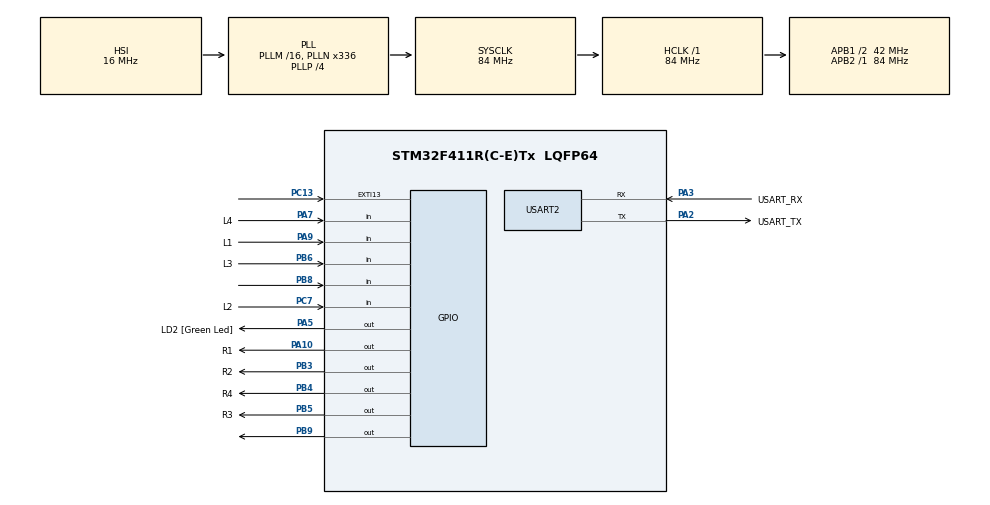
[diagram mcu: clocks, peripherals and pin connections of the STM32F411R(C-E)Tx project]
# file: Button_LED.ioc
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Mcu.Family=STM32F4
Mcu.Name=STM32F411R(C-E)Tx
Mcu.Package=LQFP64
NVIC.PriorityGroup=NVIC_PRIORITYGROUP_0
PA10.GPIO_Label=R1
PA10.GPIO_ModeDefaultOutputPP=GPIO_MODE_OUTPUT_OD
PA10.GPIO_PuPd=GPIO_NOPULL
PA10.GPIO_Speed=GPIO_SPEED_FREQ_LOW
PA10.PinState=GPIO_PIN_SET
PA10.Signal=GPIO_Output
PA13.GPIO_Label=TMS
PA13.Mode=Serial_Wire
PA13.Signal=SYS_JTMS-SWDIO
PA14.GPIO_Label=TCK
PA14.Mode=Serial_Wire
PA14.Signal=SYS_JTCK-SWCLK
PA2.GPIO_Label=USART_TX
PA2.Mode=Asynchronous
PA2.Signal=USART2_TX
PA3.GPIO_Label=USART_RX
PA3.Mode=Asynchronous
PA3.Signal=USART2_RX
PA5.GPIO_Label=LD2 [Green Led]
PA5.Signal=GPIO_Output
PA7.GPIO_Label=L4
PA7.GPIO_PuPd=GPIO_PULLUP
PA7.Signal=GPIO_Input
PA9.GPIO_Label=L1
PA9.GPIO_PuPd=GPIO_PULLUP
PA9.Signal=GPIO_Input
PB3.GPIO_Label=R2
PB3.GPIO_ModeDefaultOutputPP=GPIO_MODE_OUTPUT_OD
PB3.GPIO_PuPd=GPIO_NOPULL
PB3.GPIO_Speed=GPIO_SPEED_FREQ_LOW
PB3.PinState=GPIO_PIN_SET
PB3.Signal=GPIO_Output
PB4.GPIO_Label=R4
PB4.GPIO_ModeDefaultOutputPP=GPIO_MODE_OUTPUT_OD
PB4.GPIO_PuPd=GPIO_NOPULL
PB4.GPIO_Speed=GPIO_SPEED_FREQ_LOW
PB4.PinState=GPIO_PIN_SET
PB4.Signal=GPIO_Output
PB5.GPIO_Label=R3
PB5.GPIO_ModeDefaultOutputPP=GPIO_MODE_OUTPUT_OD
PB5.GPIO_PuPd=GPIO_NOPULL
PB5.GPIO_Speed=GPIO_SPEED_FREQ_LOW
PB5.PinState=GPIO_PIN_SET
PB5.Signal=GPIO_Output
PB6.GPIO_Label=L3
PB6.GPIO_PuPd=GPIO_PULLUP
PB6.Signal=GPIO_Input
PB8.GPIO_PuPd=GPIO_PULLUP
PB8.Signal=GPIO_Input
PB9.GPIO_PuPd=GPIO_PULLUP
PB9.Signal=GPIO_Output
PC13-ANTI_TAMP.Signal=GPXTI13
PC14-OSC32_IN.Mode=LSE-External-Oscillator
PC14-OSC32_IN.Signal=RCC_OSC32_IN
PC15-OSC32_OUT.Mode=LSE-External-Oscillator
PC15-OSC32_OUT.Signal=RCC_OSC32_OUT
PC7.GPIO_Label=L2
PC7.GPIO_PuPd=GPIO_PULLUP
PC7.Signal=GPIO_Input
PH0\ -\ OSC_IN.Mode=HSE-External-Clock-Source
PH0\ -\ OSC_IN.Signal=RCC_OSC_IN
PH1\ -\ OSC_OUT.Mode=HSE-External-Clock-Source
PH1\ -\ OSC_OUT.Signal=RCC_OSC_OUT
ProjectManager.HeapSize=0x200
ProjectManager.StackSize=0x400
ProjectManager.TargetToolchain=STM32CubeIDE
RCC.48MHZClocksFreq_Value=84000000
RCC.AHBFreq_Value=84000000
RCC.APB1CLKDivider=RCC_HCLK_DIV2
RCC.APB1Freq_Value=42000000
RCC.APB1TimFreq_Value=84000000
RCC.APB2Freq_Value=84000000
RCC.APB2TimFreq_Value=84000000
RCC.CortexFreq_Value=84000000
RCC.FLatency-AdvancedSettings=FLASH_LATENCY_2
RCC.HCLKFreq_Value=84000000
RCC.HSE_VALUE=8000000
RCC.HSI_VALUE=16000000
RCC.PLLN=336
RCC.PLLP=RCC_PLLP_DIV4
RCC.SYSCLKFreq_VALUE=84000000
RCC.SYSCLKSource=RCC_SYSCLKSOURCE_PLLCLK
RCC.VCOOutputFreq_Value=336000000
USART2.VirtualMode=VM_ASYNC
board=NUCLEO-F411RE

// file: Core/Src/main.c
/* USER CODE BEGIN Header */
/**
  ******************************************************************************
  * @file           : main.c
  * @brief          : Main program body
  ******************************************************************************
  * @attention
  *
  * Copyright (c) 2023 STMicroelectronics.
  * All rights reserved.
  *
  * This software is licensed under terms that can be found in the LICENSE file
  * in the root directory of this software component.
  * If no LICENSE file comes with this software, it is provided AS-IS.
  *
  ******************************************************************************
  */
/* USER CODE END Header */
#include "main.h"

UART_HandleTypeDef huart2;

/* USER CODE BEGIN PV */
struct Portpin
{
	GPIO_TypeDef* PORT;
	uint32_t PIN;
};

struct Portpin R[4] =
{
		{GPIOA,GPIO_PIN_10},
		{GPIOB,GPIO_PIN_3},
		{GPIOB,GPIO_PIN_5},
		{GPIOB,GPIO_PIN_4},
};

struct Portpin L[4] =
{
		{GPIOA,GPIO_PIN_9},
		{GPIOC,GPIO_PIN_7},
		{GPIOB,GPIO_PIN_6},
		{GPIOA,GPIO_PIN_7},
};

uint32_t ButtonMatrix;
uint64_t CurrentVal = 0;
uint64_t LastVal = 0;
uint64_t Disp;
/* USER CODE END PV */

void SystemClock_Config(void);
static void MX_GPIO_Init(void);
static void MX_USART2_UART_Init(void);

/* USER CODE BEGIN PFP */
void ReadMatrixButton_1Row(void);
/* USER CODE END PFP */

int main(void)
{

  /* MCU Configuration--------------------------------------------------------*/

  /* Reset of all peripherals, Initializes the Flash interface and the Systick. */
  HAL_Init();

  /* Configure the system clock */
  SystemClock_Config();

  /* Initialize all configured peripherals */
  MX_GPIO_Init();
  MX_USART2_UART_Init();

  /* Infinite loop */
  /* USER CODE BEGIN WHILE */

  GPIO_PinState state = 0;
  uint32_t Power;
  while (1)
  {
    /* USER CODE END WHILE */
	  HAL_GPIO_WritePin(GPIOA, GPIO_PIN_5, state);
    /* USER CODE BEGIN 3 */
	  static uint32_t timestamp = 0;
	  if(HAL_GetTick() >= timestamp)
	  {
	  	timestamp = HAL_GetTick() + 5;
	  	ReadMatrixButton_1Row();
	  	//detect RISING
	  	if (ButtonMatrix > 0 && LastVal != ButtonMatrix)
	  	{
	  		CurrentVal = ButtonMatrix;
	  		if(CurrentVal == 8) //0
	  		{
	  			Disp = Disp * 10;
	  			Disp += 0;
	  			state = 0;
	  		}
	  		else if(CurrentVal == 4) //1
	  		{
	  			Disp = Disp * 10;
	  			Disp += 1;
	  			state = 0;
	  		}
	  		else if(CurrentVal == 64) //2
	  		{
	  			Disp = Disp * 10;
	  			Disp += 2;
	  			state = 0;
	  		}
	  		else if(CurrentVal == 1024) //3
	  		{
	  			Disp = Disp * 10;
	  			Disp += 3;
	  			state = 0;
	  		}
	  		else if(CurrentVal == 2) //4
	  		{
	  			Disp = Disp * 10;
	  			Disp += 4;
	  			state = 0;
	  		}
	  		else if(CurrentVal == 32) //5
	  		{
	  			Disp = Disp * 10;
	  			Disp += 5;
	  			state = 0;
	  		}
	  		else if(CurrentVal == 512) //6
	  		{
	  			Disp = Disp * 10;
	  			Disp += 6;
	  			state = 0;
	  		}
	  		else if(CurrentVal == 1) //7
	  		{
	  			Disp = Disp * 10;
	  			Disp += 7;
	  			state = 0;
	  		}
	  		else if(CurrentVal == 16) //8
	  		{
	  			Disp = Disp * 10;
	  			Disp += 8;
	  			state = 0;
	  		}
	  		else if(CurrentVal == 256) //9
	  		{
	  			Disp = Disp * 10;
	  			Disp += 9;
	  			state = 0;
	  		}
	  		else if(CurrentVal == 4096) //clear
			{
	  			Disp = Disp * 0;
	  			state = 0;
	  		}
	  		else if(CurrentVal == 8192) //backspace
			{
	  			Disp = Disp / 10;
	  			state = 0;
	  		}
	  		else if(CurrentVal == 32768 && Disp == 64340500038)
	  		{
	  			state = 1;
	  		}

	  	}
	  	LastVal = ButtonMatrix;
	  }

//	static uint32_t delay = 500;
//	static uint32_t timestamp = 0;
//	Button1.State_C = HAL_GPIO_ReadPin(GPIOB, GPIO_PIN_8);
//	if(Button1.State_L == 1 && Button1.State_C == 0)
//	{
//		if(delay == 500){
//			delay = 1000;
//		}
//		else
//		{
//			delay = 500;
//		}
//	}
//	Button1.State_L = Button1.State_C;
//
//	if(HAL_GetTick() >= timestamp){
//		timestamp = HAL_GetTick() + delay;
//		HAL_GPIO_TogglePin(GPIOB, GPIO_PIN_9);
//	}

  }
  /* USER CODE END 3 */
}

void SystemClock_Config(void)
{
  RCC_OscInitTypeDef RCC_OscInitStruct = {0};
  RCC_ClkInitTypeDef RCC_ClkInitStruct = {0};

  /** Configure the main internal regulator output voltage
  */
  __HAL_RCC_PWR_CLK_ENABLE();
  __HAL_PWR_VOLTAGESCALING_CONFIG(PWR_REGULATOR_VOLTAGE_SCALE1);

  /** Initializes the RCC Oscillators according to the specified parameters
  * in the RCC_OscInitTypeDef structure.
  */
  RCC_OscInitStruct.OscillatorType = RCC_OSCILLATORTYPE_HSI;
  RCC_OscInitStruct.HSIState = RCC_HSI_ON;
  RCC_OscInitStruct.HSICalibrationValue = RCC_HSICALIBRATION_DEFAULT;
  RCC_OscInitStruct.PLL.PLLState = RCC_PLL_ON;
  RCC_OscInitStruct.PLL.PLLSource = RCC_PLLSOURCE_HSI;
  RCC_OscInitStruct.PLL.PLLM = 16;
  RCC_OscInitStruct.PLL.PLLN = 336;
  RCC_OscInitStruct.PLL.PLLP = RCC_PLLP_DIV4;
  RCC_OscInitStruct.PLL.PLLQ = 4;
  if (HAL_RCC_OscConfig(&RCC_OscInitStruct) != HAL_OK)
  {
    Error_Handler();
  }

  /** Initializes the CPU, AHB and APB buses clocks
  */
  RCC_ClkInitStruct.ClockType = RCC_CLOCKTYPE_HCLK|RCC_CLOCKTYPE_SYSCLK
                              |RCC_CLOCKTYPE_PCLK1|RCC_CLOCKTYPE_PCLK2;
  RCC_ClkInitStruct.SYSCLKSource = RCC_SYSCLKSOURCE_PLLCLK;
  RCC_ClkInitStruct.AHBCLKDivider = RCC_SYSCLK_DIV1;
  RCC_ClkInitStruct.APB1CLKDivider = RCC_HCLK_DIV2;
  RCC_ClkInitStruct.APB2CLKDivider = RCC_HCLK_DIV1;

  if (HAL_RCC_ClockConfig(&RCC_ClkInitStruct, FLASH_LATENCY_2) != HAL_OK)
  {
    Error_Handler();
  }
}

static void MX_USART2_UART_Init(void)
{

  huart2.Instance = USART2;
  huart2.Init.BaudRate = 115200;
  huart2.Init.WordLength = UART_WORDLENGTH_8B;
  huart2.Init.StopBits = UART_STOPBITS_1;
  huart2.Init.Parity = UART_PARITY_NONE;
  huart2.Init.Mode = UART_MODE_TX_RX;
  huart2.Init.HwFlowCtl = UART_HWCONTROL_NONE;
  huart2.Init.OverSampling = UART_OVERSAMPLING_16;
  if (HAL_UART_Init(&huart2) != HAL_OK)
  {
    Error_Handler();
  }

}

static void MX_GPIO_Init(void)
{
  GPIO_InitTypeDef GPIO_InitStruct = {0};

  /* GPIO Ports Clock Enable */
  __HAL_RCC_GPIOC_CLK_ENABLE();
  __HAL_RCC_GPIOH_CLK_ENABLE();
  __HAL_RCC_GPIOA_CLK_ENABLE();
  __HAL_RCC_GPIOB_CLK_ENABLE();

  /*Configure GPIO pin Output Level */
  HAL_GPIO_WritePin(LD2_GPIO_Port, LD2_Pin, GPIO_PIN_RESET);

  /*Configure GPIO pin Output Level */
  HAL_GPIO_WritePin(R1_GPIO_Port, R1_Pin, GPIO_PIN_SET);

  /*Configure GPIO pin Output Level */
  HAL_GPIO_WritePin(GPIOB, R2_Pin|R4_Pin|R3_Pin, GPIO_PIN_SET);

  /*Configure GPIO pin Output Level */
  HAL_GPIO_WritePin(GPIOB, GPIO_PIN_9, GPIO_PIN_RESET);

  /*Configure GPIO pin : PC13 */
  GPIO_InitStruct.Pin = GPIO_PIN_13;
  GPIO_InitStruct.Mode = GPIO_MODE_IT_RISING;
  GPIO_InitStruct.Pull = GPIO_NOPULL;
  HAL_GPIO_Init(GPIOC, &GPIO_InitStruct);

  /*Configure GPIO pin : LD2_Pin */
  GPIO_InitStruct.Pin = LD2_Pin;
  GPIO_InitStruct.Mode = GPIO_MODE_OUTPUT_PP;
  GPIO_InitStruct.Pull = GPIO_NOPULL;
  GPIO_InitStruct.Speed = GPIO_SPEED_FREQ_LOW;
  HAL_GPIO_Init(LD2_GPIO_Port, &GPIO_InitStruct);

  /*Configure GPIO pins : L4_Pin L1_Pin */
  GPIO_InitStruct.Pin = L4_Pin|L1_Pin;
  GPIO_InitStruct.Mode = GPIO_MODE_INPUT;
  GPIO_InitStruct.Pull = GPIO_PULLUP;
  HAL_GPIO_Init(GPIOA, &GPIO_InitStruct);

  /*Configure GPIO pin : L2_Pin */
  GPIO_InitStruct.Pin = L2_Pin;
  GPIO_InitStruct.Mode = GPIO_MODE_INPUT;
  GPIO_InitStruct.Pull = GPIO_PULLUP;
  HAL_GPIO_Init(L2_GPIO_Port, &GPIO_InitStruct);

  /*Configure GPIO pin : R1_Pin */
  GPIO_InitStruct.Pin = R1_Pin;
  GPIO_InitStruct.Mode = GPIO_MODE_OUTPUT_OD;
  GPIO_InitStruct.Pull = GPIO_NOPULL;
  GPIO_InitStruct.Speed = GPIO_SPEED_FREQ_LOW;
  HAL_GPIO_Init(R1_GPIO_Port, &GPIO_InitStruct);

  /*Configure GPIO pins : R2_Pin R4_Pin R3_Pin */
  GPIO_InitStruct.Pin = R2_Pin|R4_Pin|R3_Pin;
  GPIO_InitStruct.Mode = GPIO_MODE_OUTPUT_OD;
  GPIO_InitStruct.Pull = GPIO_NOPULL;
  GPIO_InitStruct.Speed = GPIO_SPEED_FREQ_LOW;
  HAL_GPIO_Init(GPIOB, &GPIO_InitStruct);

  /*Configure GPIO pins : L3_Pin PB8 */
  GPIO_InitStruct.Pin = L3_Pin|GPIO_PIN_8;
  GPIO_InitStruct.Mode = GPIO_MODE_INPUT;
  GPIO_InitStruct.Pull = GPIO_PULLUP;
  HAL_GPIO_Init(GPIOB, &GPIO_InitStruct);

  /*Configure GPIO pin : PB9 */
  GPIO_InitStruct.Pin = GPIO_PIN_9;
  GPIO_InitStruct.Mode = GPIO_MODE_OUTPUT_PP;
  GPIO_InitStruct.Pull = GPIO_PULLUP;
  GPIO_InitStruct.Speed = GPIO_SPEED_FREQ_LOW;
  HAL_GPIO_Init(GPIOB, &GPIO_InitStruct);

}

/* USER CODE BEGIN 4 */
void ReadMatrixButton_1Row()
{
	static uint8_t X = 0;
	register int i;
	for(i = 0;i<4;i++)
	{
		if(HAL_GPIO_ReadPin(L[i].PORT,L[i].PIN) == 1)
		{
			ButtonMatrix &= ~(1 << (X*4 + i));
		}
		else
		{
			ButtonMatrix = 1 << (X*4 + i);
		}
	}

	HAL_GPIO_WritePin(R[X].PORT, R[X].PIN, 1);

	HAL_GPIO_WritePin(R[(X+1)%4].PORT, R[(X+1)%4].PIN, 0);
	X ++;
	X %= 4;
}
/* USER CODE END 4 */

void Error_Handler(void)
{
  __disable_irq();
  while (1)
  {
  }
}
